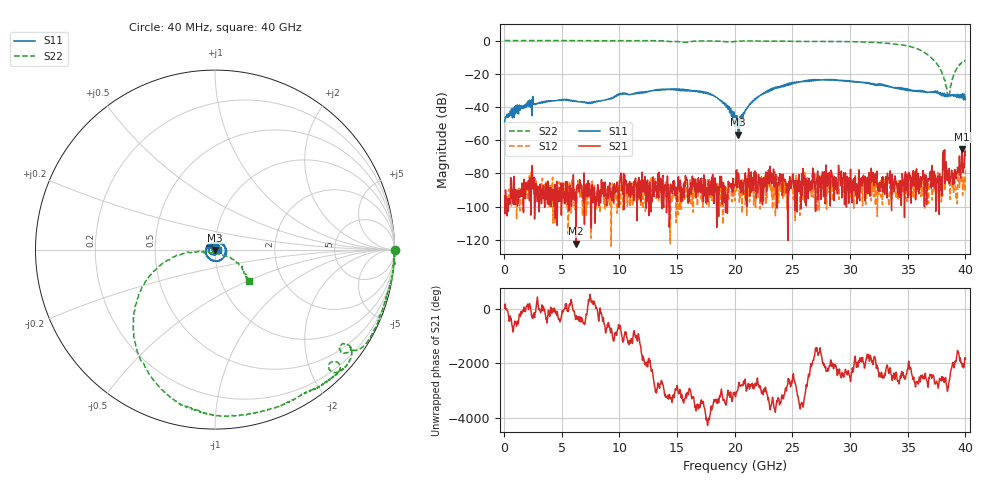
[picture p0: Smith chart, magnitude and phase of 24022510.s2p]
! 3/28/2024 4:22:11 PM
! D:\MS4647AVNA\292M185F 240225XX\24022510.S2P
! CHANNEL.1
! TR.MEASUREMENT
! CORRECTED.DATA
# GHZ S RI R 50.0
! FREQ.GHZ  S11RE  S11IM  S21RE  S21IM  S12RE  S12IM  S22RE  S22IM
!; PortSelection: Port_12
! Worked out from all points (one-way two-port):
!   1000 points, 40 MHz to 40 GHz, reference 50 ohm
!   highest |S21| = -65.29 dB at 39.72 GHz (marker M1); lowest = -122.4 dB at 6.24 GHz (marker M2)
!   lowest |S11| = -56.8 dB at 20.28 GHz (marker M3), VSWR 1.00, Z = 50 - j0.144 ohm
!   |S11| at or under -10 dB: start of sweep to end of sweep
!   |S22| runs from -34.4 to 0.1 dB; largest |S21 - S12| = 0.00078
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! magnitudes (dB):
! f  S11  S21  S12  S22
! 40 MHz  -48.9  -93.5  -100.1  0.0
! 2.16 GHz  -39.5  -91.4  -84.0  0.0
! 6.24 GHz  -36.6  -122.4  -93.9  0.0
! 6.72 GHz  -37.1  -87.3  -88.6  -0.1
! 13.36 GHz  -29.4  -88.0  -88.6  -0.1
! 17.88 GHz  -32.4  -90.7  -94.5  -0.2
! 19.16 GHz  -38.4  -88.3  -95.6  -0.6
! 20.04 GHz  -46.1  -86.4  -83.3  -0.5
! 20.28 GHz  -56.8  -79.7  -84.9  -0.4
! 21.4 GHz  -37.7  -79.4  -89.1  -0.3
! 22.52 GHz  -31.6  -82.5  -83.1  -0.3
! 26.68 GHz  -24.3  -89.6  -88.6  -0.5
! 33.36 GHz  -27.8  -82.9  -99.8  -1.7
! 35.48 GHz  -30.5  -78.4  -94.2  -4.1
! 36.84 GHz  -31.2  -84.3  -88.8  -9.1
! 37.8 GHz  -32.5  -87.1  -92.0  -16.9
! 38 GHz  -31.7  -93.7  -86.8  -20.2
! 38.2 GHz  -33.1  -65.8  -90.5  -23.6
! 38.52 GHz  -33.5  -78.3  -84.7  -32.9
! 39.16 GHz  -32.7  -79.1  -88.0  -18.1
! 39.72 GHz  -33.3  -65.3  -81.4  -13.0
! 40 GHz  -35.6  -69.0  -78.1  -11.8
